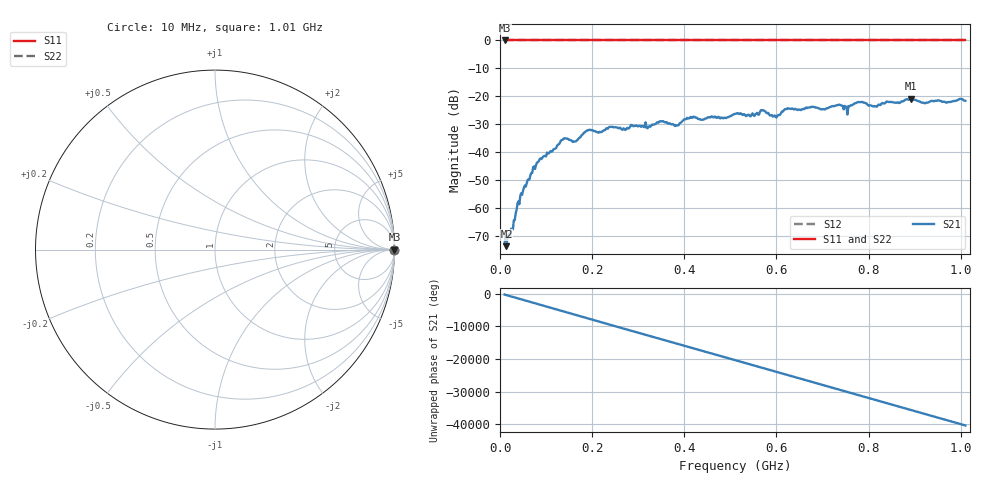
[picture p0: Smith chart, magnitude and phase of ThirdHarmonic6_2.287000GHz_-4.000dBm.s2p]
! 8/17/2025 3:00:23 AM
! C:\ANRITSUVNA\TEMP\TEMP.S2P
! CHANNEL.1
! TR.MEASUREMENT
! RAW.DATA
! RF.CORRECTION.OFF
! AVERAGING.OFF
! IF.BANDWIDTH: 5KHZ
! SWEEPTYPE:  FREQ.SWEEP(Linear)
! Reference Plane Port Info
! PORT:  PORT1  PORT2
! DISTANCE:  0  m  0  m
! TIME:  0  s  0  s
! PHASE.OFFSET:  0  deg.  0  deg.
! LOSS:  0  dB  0  dB
! REF.LOSS:  0  dB  0  dB
! REF.FREQ:  0  Hz  0  Hz
! Power Info
! POWER:  -20  dBm  -20  dBm
! EFF.POWER:  -20  dBm  -20  dBm
! SOURCE.ATTEN:  0  dB  0  dB
! TEST.ATTEN:  0  dB  0  dB
# GHZ S RI R 50.0
! FREQ.GHZ  S11RE  S11IM  S21RE  S21IM  S12RE  S12IM  S22RE  S22IM
!; PortSelection: Port_12
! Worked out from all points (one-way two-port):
!   501 points, 10 MHz to 1.01 GHz, reference 50 ohm
!   highest |S21| = -20.87 dB at 892 MHz (marker M1); lowest = -73.7 dB at 14 MHz (marker M2)
!   lowest |S11| = 0.0 dB at 10 MHz (marker M3)
!   |S11| at or under -10 dB: nowhere
!   |S22| runs from 0.0 to 0.0 dB; largest |S21 - S12| = 1.1
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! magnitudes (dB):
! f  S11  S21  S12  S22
! 10 MHz  0.0  -72.8  0.0  0.0
! 14 MHz  0.0  -73.7  0.0  0.0
! 26 MHz  0.0  -67.5  0.0  0.0
! 48 MHz  0.0  -55.3  0.0  0.0
! 84 MHz  0.0  -43.3  0.0  0.0
! 136 MHz  0.0  -35.6  0.0  0.0
! 162 MHz  0.0  -36.2  0.0  0.0
! 178 MHz  0.0  -33.8  0.0  0.0
! 344 MHz  0.0  -29.4  0.0  0.0
! 384 MHz  0.0  -30.4  0.0  0.0
! 410 MHz  0.0  -28.0  0.0  0.0
! 510 MHz  0.0  -26.3  0.0  0.0
! 570 MHz  0.0  -25.0  0.0  0.0
! 596 MHz  0.0  -26.9  0.0  0.0
! 622 MHz  0.0  -24.6  0.0  0.0
! 678 MHz  0.0  -23.8  0.0  0.0
! 750 MHz  0.0  -23.7  0.0  0.0
! 778 MHz  0.0  -22.1  0.0  0.0
! 814 MHz  0.0  -23.5  0.0  0.0
! 844 MHz  0.0  -22.1  0.0  0.0
! 892 MHz  0.0  -20.9  0.0  0.0
! 1.01 GHz  0.0  -21.6  0.0  0.0
